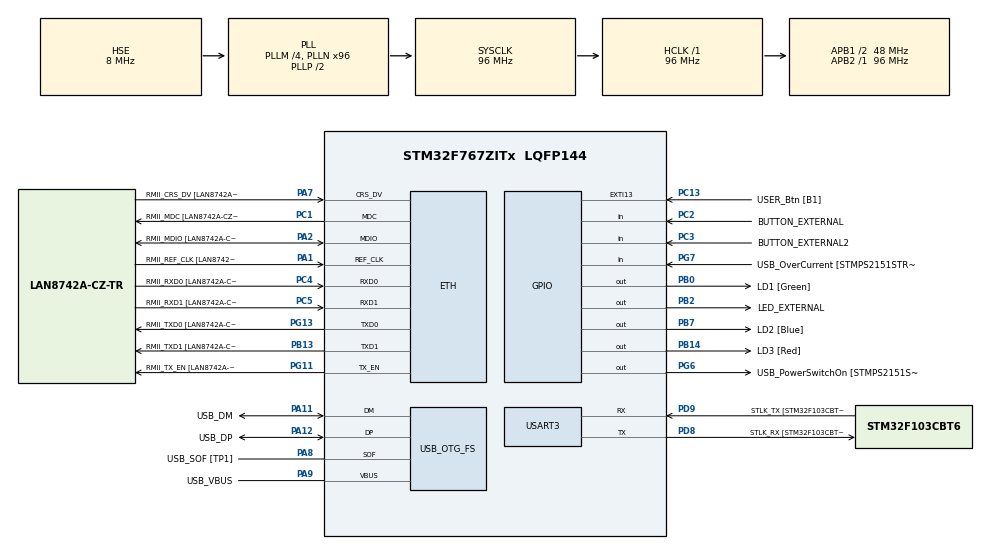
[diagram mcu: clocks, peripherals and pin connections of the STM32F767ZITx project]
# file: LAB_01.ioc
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ETH.MediaInterface=HAL_ETH_RMII_MODE
ETH.PHY_Name=LAN8742A_PHY_ADDRESS
ETH.PHY_Value=0
ETH.PhyAddress=0
Mcu.Family=STM32F7
Mcu.Name=STM32F767ZITx
Mcu.Package=LQFP144
NVIC.PriorityGroup=NVIC_PRIORITYGROUP_4
PA1.GPIO_Label=RMII_REF_CLK [LAN8742A-CZ-TR_REFCLK0]
PA1.Mode=RMII
PA1.Signal=ETH_REF_CLK
PA10.GPIO_Label=USB_ID
PA10.Signal=USB_OTG_FS_ID
PA11.GPIO_Label=USB_DM
PA11.Mode=Device_Only
PA11.Signal=USB_OTG_FS_DM
PA12.GPIO_Label=USB_DP
PA12.Mode=Device_Only
PA12.Signal=USB_OTG_FS_DP
PA13.GPIO_Label=TMS
PA13.Mode=Serial_Wire
PA13.Signal=SYS_JTMS-SWDIO
PA14.GPIO_Label=TCK
PA14.Mode=Serial_Wire
PA14.Signal=SYS_JTCK-SWCLK
PA2.GPIO_Label=RMII_MDIO [LAN8742A-CZ-TR_MDIO]
PA2.Mode=RMII
PA2.Signal=ETH_MDIO
PA7.GPIO_Label=RMII_CRS_DV [LAN8742A-CZ-TR_CRS_DV]
PA7.Mode=RMII
PA7.Signal=ETH_CRS_DV
PA8.GPIO_Label=USB_SOF [TP1]
PA8.Mode=Activate_SOF_FS
PA8.Signal=USB_OTG_FS_SOF
PA9.GPIO_Label=USB_VBUS
PA9.Mode=Activate_VBUS
PA9.Signal=USB_OTG_FS_VBUS
PB0.GPIO_Label=LD1 [Green]
PB0.Signal=GPIO_Output
PB13.GPIO_Label=RMII_TXD1 [LAN8742A-CZ-TR_TXD1]
PB13.Mode=RMII
PB13.Signal=ETH_TXD1
PB14.GPIO_Label=LD3 [Red]
PB14.GPIO_PuPd=GPIO_PULLUP
PB14.Signal=GPIO_Output
PB2.GPIO_Label=LED_EXTERNAL
PB2.Signal=GPIO_Output
PB3.GPIO_Label=SWO
PB3.Signal=SYS_JTDO-SWO
PB7.GPIO_Label=LD2 [Blue]
PB7.Signal=GPIO_Output
PC1.GPIO_Label=RMII_MDC [LAN8742A-CZ-TR_MDC]
PC1.Mode=RMII
PC1.Signal=ETH_MDC
PC13.GPIO_Label=USER_Btn [B1]
PC13.Signal=GPXTI13
PC14/OSC32_IN.Mode=LSE-External-Oscillator
PC14/OSC32_IN.Signal=RCC_OSC32_IN
PC15/OSC32_OUT.Mode=LSE-External-Oscillator
PC15/OSC32_OUT.Signal=RCC_OSC32_OUT
PC2.GPIO_Label=BUTTON_EXTERNAL
PC2.GPIO_PuPd=GPIO_PULLUP
PC2.Signal=GPIO_Input
PC3.GPIO_Label=BUTTON_EXTERNAL2
PC3.GPIO_PuPd=GPIO_PULLDOWN
PC3.Signal=GPIO_Input
PC4.GPIO_Label=RMII_RXD0 [LAN8742A-CZ-TR_RXD0]
PC4.Mode=RMII
PC4.Signal=ETH_RXD0
PC5.GPIO_Label=RMII_RXD1 [LAN8742A-CZ-TR_RXD1]
PC5.Mode=RMII
PC5.Signal=ETH_RXD1
PD8.GPIO_Label=STLK_RX [STM32F103CBT6_PA3]
PD8.Mode=Asynchronous
PD8.Signal=USART3_TX
PD9.GPIO_Label=STLK_TX [STM32F103CBT6_PA2]
PD9.Mode=Asynchronous
PD9.Signal=USART3_RX
PG11.GPIO_Label=RMII_TX_EN [LAN8742A-CZ-TR_TXEN]
PG11.Mode=RMII
PG11.Signal=ETH_TX_EN
PG13.GPIO_Label=RMII_TXD0 [LAN8742A-CZ-TR_TXD0]
PG13.Mode=RMII
PG13.Signal=ETH_TXD0
PG6.GPIO_Label=USB_PowerSwitchOn [STMPS2151STR_EN]
PG6.Signal=GPIO_Output
PG7.GPIO_Label=USB_OverCurrent [STMPS2151STR_FAULT]
PG7.Signal=GPIO_Input
PH0/OSC_IN.GPIO_Label=MCO [STM32F103CBT6_PA8]
PH0/OSC_IN.Mode=HSE-External-Clock-Source
PH0/OSC_IN.Signal=RCC_OSC_IN
PH1/OSC_OUT.Mode=HSE-External-Clock-Source
PH1/OSC_OUT.Signal=RCC_OSC_OUT
ProjectManager.HeapSize=0x200
ProjectManager.StackSize=0x400
ProjectManager.TargetToolchain=STM32CubeIDE
RCC.48MHZClocksFreq_Value=24000000
RCC.AHBFreq_Value=96000000
RCC.APB1CLKDivider=RCC_HCLK_DIV2
RCC.APB1Freq_Value=48000000
RCC.APB1TimFreq_Value=96000000
RCC.APB2Freq_Value=96000000
RCC.APB2TimFreq_Value=96000000
RCC.CortexFreq_Value=96000000
RCC.HCLKFreq_Value=96000000
RCC.HSE_VALUE=8000000
RCC.HSI_VALUE=16000000
RCC.PLLM=4
RCC.PLLMUL=RCC_PLL_MUL9
RCC.PLLN=96
RCC.PLLQ=4
RCC.PRESCALERUSB=RCC_USBCLKSOURCE_PLL_DIV1_5
RCC.SYSCLKFreq_VALUE=96000000
RCC.SYSCLKSource=RCC_SYSCLKSOURCE_PLLCLK
RCC.SYSCLKSourceVirtual=RCC_SYSCLKSOURCE_PLLCLK
RCC.USBFreq_Value=48000000
RCC.VCOOutputFreq_Value=192000000
USART3.VirtualMode-Asynchronous=VM_ASYNC
USB_OTG_FS.VirtualMode=Device_Only
board=NUCLEO-F767ZI

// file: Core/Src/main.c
/* USER CODE BEGIN Header */
/**
 ******************************************************************************
 * @file           : main.c
 * @brief          : Main program body
 ******************************************************************************
 * @attention
 *
 * Copyright (c) 2025 STMicroelectronics.
 * All rights reserved.
 *
 * This software is licensed under terms that can be found in the LICENSE file
 * in the root directory of this software component.
 * If no LICENSE file comes with this software, it is provided AS-IS.
 *
 ******************************************************************************
 */
/* USER CODE END Header */
#include "main.h"
#include "string.h"

/* USER CODE BEGIN Includes */

#include <stdbool.h>

/* USER CODE END Includes */

#if defined ( __ICCARM__ ) /*!< IAR Compiler */
#pragma location=0x2007c000
ETH_DMADescTypeDef  DMARxDscrTab[ETH_RX_DESC_CNT]; /* Ethernet Rx DMA Descriptors */
#pragma location=0x2007c0a0
ETH_DMADescTypeDef  DMATxDscrTab[ETH_TX_DESC_CNT]; /* Ethernet Tx DMA Descriptors */

#elif defined ( __CC_ARM )  /* MDK ARM Compiler */

__attribute__((at(0x2007c000))) ETH_DMADescTypeDef  DMARxDscrTab[ETH_RX_DESC_CNT]; /* Ethernet Rx DMA Descriptors */
__attribute__((at(0x2007c0a0))) ETH_DMADescTypeDef  DMATxDscrTab[ETH_TX_DESC_CNT]; /* Ethernet Tx DMA Descriptors */

#elif defined ( __GNUC__ ) /* GNU Compiler */

ETH_DMADescTypeDef DMARxDscrTab[ETH_RX_DESC_CNT] __attribute__((section(".RxDecripSection"))); /* Ethernet Rx DMA Descriptors */
ETH_DMADescTypeDef DMATxDscrTab[ETH_TX_DESC_CNT] __attribute__((section(".TxDecripSection"))); /* Ethernet Tx DMA Descriptors */
#endif

ETH_TxPacketConfig TxConfig;

ETH_HandleTypeDef heth;

UART_HandleTypeDef huart3;

PCD_HandleTypeDef hpcd_USB_OTG_FS;

void SystemClock_Config(void);
static void MX_GPIO_Init(void);
static void MX_ETH_Init(void);
static void MX_USART3_UART_Init(void);
static void MX_USB_OTG_FS_PCD_Init(void);

/* USER CODE BEGIN 0 */

void zad4() {
	GPIO_PinState pinState = HAL_GPIO_ReadPin(GPIOC,
	BUTTON_EXTERNAL_Pin);

	if (pinState == GPIO_PIN_RESET) {
		HAL_GPIO_WritePin(GPIOB, LED_EXTERNAL_Pin, GPIO_PIN_SET);
		//			HAL_GPIO_WritePin(GPIOB, LD1_Pin, GPIO_PIN_SET);
	} else {
		HAL_GPIO_WritePin(GPIOB, LED_EXTERNAL_Pin, GPIO_PIN_RESET);
		//			HAL_GPIO_WritePin(GPIOB, LD1_Pin, GPIO_PIN_RESET);
	}
}

_Bool buttonState(uint16_t pin) {
	if (pin == BUTTON_EXTERNAL_Pin) {
		GPIO_PinState pinState = HAL_GPIO_ReadPin(GPIOC,
		BUTTON_EXTERNAL_Pin);

		return (pinState == GPIO_PIN_RESET);

	} else if (pin == BUTTON_EXTERNAL2_Pin) {
		GPIO_PinState pinState = HAL_GPIO_ReadPin(GPIOC,
		BUTTON_EXTERNAL_Pin);
		return (pinState == GPIO_PIN_SET);
	}
	return false;
}

void zad5() {
	GPIO_PinState pinStatePullUp = HAL_GPIO_ReadPin(GPIOC,
	BUTTON_EXTERNAL_Pin);
	GPIO_PinState pinStatePullDown = HAL_GPIO_ReadPin(GPIOC,
	BUTTON_EXTERNAL2_Pin);

	if (pinStatePullUp == GPIO_PIN_RESET) {
		HAL_GPIO_WritePin(GPIOB, LED_EXTERNAL_Pin, GPIO_PIN_SET);
	}

	if (pinStatePullDown == GPIO_PIN_SET) {
		HAL_GPIO_WritePin(GPIOB, LED_EXTERNAL_Pin, GPIO_PIN_RESET);
	}
}

//void zad5() {
//	if (buttonState(BUTTON_EXTERNAL_Pin)) {
//		HAL_GPIO_WritePin(GPIOB, LED_EXTERNAL_Pin, GPIO_PIN_SET);
//	}
//
//	if (buttonState(BUTTON_EXTERNAL2_Pin)) {
//		HAL_GPIO_WritePin(GPIOB, LED_EXTERNAL_Pin, GPIO_PIN_RESET);
//	}
//}

/* USER CODE END 0 */

int main(void) {

	/* MCU Configuration--------------------------------------------------------*/

	/* Reset of all peripherals, Initializes the Flash interface and the Systick. */
	HAL_Init();

	/* Configure the system clock */
	SystemClock_Config();

	/* Initialize all configured peripherals */
	MX_GPIO_Init();
	MX_ETH_Init();
	MX_USART3_UART_Init();
	MX_USB_OTG_FS_PCD_Init();

	/* Infinite loop */
	/* USER CODE BEGIN WHILE */
	while (1) {

//		zad4();
		zad5();

		/* USER CODE END WHILE */

	}
}

void SystemClock_Config(void) {
	RCC_OscInitTypeDef RCC_OscInitStruct = { 0 };
	RCC_ClkInitTypeDef RCC_ClkInitStruct = { 0 };

	/** Configure LSE Drive Capability
	 */
	HAL_PWR_EnableBkUpAccess();

	/** Configure the main internal regulator output voltage
	 */
	__HAL_RCC_PWR_CLK_ENABLE();
	__HAL_PWR_VOLTAGESCALING_CONFIG(PWR_REGULATOR_VOLTAGE_SCALE3);

	/** Initializes the RCC Oscillators according to the specified parameters
	 * in the RCC_OscInitTypeDef structure.
	 */
	RCC_OscInitStruct.OscillatorType = RCC_OSCILLATORTYPE_HSE;
	RCC_OscInitStruct.HSEState = RCC_HSE_BYPASS;
	RCC_OscInitStruct.PLL.PLLState = RCC_PLL_ON;
	RCC_OscInitStruct.PLL.PLLSource = RCC_PLLSOURCE_HSE;
	RCC_OscInitStruct.PLL.PLLM = 4;
	RCC_OscInitStruct.PLL.PLLN = 96;
	RCC_OscInitStruct.PLL.PLLP = RCC_PLLP_DIV2;
	RCC_OscInitStruct.PLL.PLLQ = 4;
	RCC_OscInitStruct.PLL.PLLR = 2;
	if (HAL_RCC_OscConfig(&RCC_OscInitStruct) != HAL_OK) {
		Error_Handler();
	}

	/** Activate the Over-Drive mode
	 */
	if (HAL_PWREx_EnableOverDrive() != HAL_OK) {
		Error_Handler();
	}

	/** Initializes the CPU, AHB and APB buses clocks
	 */
	RCC_ClkInitStruct.ClockType = RCC_CLOCKTYPE_HCLK | RCC_CLOCKTYPE_SYSCLK
			| RCC_CLOCKTYPE_PCLK1 | RCC_CLOCKTYPE_PCLK2;
	RCC_ClkInitStruct.SYSCLKSource = RCC_SYSCLKSOURCE_PLLCLK;
	RCC_ClkInitStruct.AHBCLKDivider = RCC_SYSCLK_DIV1;
	RCC_ClkInitStruct.APB1CLKDivider = RCC_HCLK_DIV2;
	RCC_ClkInitStruct.APB2CLKDivider = RCC_HCLK_DIV1;

	if (HAL_RCC_ClockConfig(&RCC_ClkInitStruct, FLASH_LATENCY_3) != HAL_OK) {
		Error_Handler();
	}
}

static void MX_ETH_Init(void) {

	static uint8_t MACAddr[6];

	heth.Instance = ETH;
	MACAddr[0] = 0x00;
	MACAddr[1] = 0x80;
	MACAddr[2] = 0xE1;
	MACAddr[3] = 0x00;
	MACAddr[4] = 0x00;
	MACAddr[5] = 0x00;
	heth.Init.MACAddr = &MACAddr[0];
	heth.Init.MediaInterface = HAL_ETH_RMII_MODE;
	heth.Init.TxDesc = DMATxDscrTab;
	heth.Init.RxDesc = DMARxDscrTab;
	heth.Init.RxBuffLen = 1524;

	if (HAL_ETH_Init(&heth) != HAL_OK) {
		Error_Handler();
	}

	memset(&TxConfig, 0, sizeof(ETH_TxPacketConfig));
	TxConfig.Attributes = ETH_TX_PACKETS_FEATURES_CSUM
			| ETH_TX_PACKETS_FEATURES_CRCPAD;
	TxConfig.ChecksumCtrl = ETH_CHECKSUM_IPHDR_PAYLOAD_INSERT_PHDR_CALC;
	TxConfig.CRCPadCtrl = ETH_CRC_PAD_INSERT;

}

static void MX_USART3_UART_Init(void) {

	huart3.Instance = USART3;
	huart3.Init.BaudRate = 115200;
	huart3.Init.WordLength = UART_WORDLENGTH_8B;
	huart3.Init.StopBits = UART_STOPBITS_1;
	huart3.Init.Parity = UART_PARITY_NONE;
	huart3.Init.Mode = UART_MODE_TX_RX;
	huart3.Init.HwFlowCtl = UART_HWCONTROL_NONE;
	huart3.Init.OverSampling = UART_OVERSAMPLING_16;
	huart3.Init.OneBitSampling = UART_ONE_BIT_SAMPLE_DISABLE;
	huart3.AdvancedInit.AdvFeatureInit = UART_ADVFEATURE_NO_INIT;
	if (HAL_UART_Init(&huart3) != HAL_OK) {
		Error_Handler();
	}

}

static void MX_USB_OTG_FS_PCD_Init(void) {

	hpcd_USB_OTG_FS.Instance = USB_OTG_FS;
	hpcd_USB_OTG_FS.Init.dev_endpoints = 6;
	hpcd_USB_OTG_FS.Init.speed = PCD_SPEED_FULL;
	hpcd_USB_OTG_FS.Init.dma_enable = DISABLE;
	hpcd_USB_OTG_FS.Init.phy_itface = PCD_PHY_EMBEDDED;
	hpcd_USB_OTG_FS.Init.Sof_enable = ENABLE;
	hpcd_USB_OTG_FS.Init.low_power_enable = DISABLE;
	hpcd_USB_OTG_FS.Init.lpm_enable = DISABLE;
	hpcd_USB_OTG_FS.Init.vbus_sensing_enable = ENABLE;
	hpcd_USB_OTG_FS.Init.use_dedicated_ep1 = DISABLE;
	if (HAL_PCD_Init(&hpcd_USB_OTG_FS) != HAL_OK) {
		Error_Handler();
	}

}

static void MX_GPIO_Init(void) {
	GPIO_InitTypeDef GPIO_InitStruct = { 0 };

	/* GPIO Ports Clock Enable */
	__HAL_RCC_GPIOC_CLK_ENABLE();
	__HAL_RCC_GPIOH_CLK_ENABLE();
	__HAL_RCC_GPIOA_CLK_ENABLE();
	__HAL_RCC_GPIOB_CLK_ENABLE();
	__HAL_RCC_GPIOD_CLK_ENABLE();
	__HAL_RCC_GPIOG_CLK_ENABLE();

	/*Configure GPIO pin Output Level */
	HAL_GPIO_WritePin(GPIOB, LD1_Pin | LED_EXTERNAL_Pin | LD3_Pin | LD2_Pin,
			GPIO_PIN_RESET);

	/*Configure GPIO pin Output Level */
	HAL_GPIO_WritePin(USB_PowerSwitchOn_GPIO_Port, USB_PowerSwitchOn_Pin,
			GPIO_PIN_RESET);

	/*Configure GPIO pin : USER_Btn_Pin */
	GPIO_InitStruct.Pin = USER_Btn_Pin;
	GPIO_InitStruct.Mode = GPIO_MODE_IT_RISING;
	GPIO_InitStruct.Pull = GPIO_NOPULL;
	HAL_GPIO_Init(USER_Btn_GPIO_Port, &GPIO_InitStruct);

	/*Configure GPIO pin : BUTTON_EXTERNAL_Pin */
	GPIO_InitStruct.Pin = BUTTON_EXTERNAL_Pin;
	GPIO_InitStruct.Mode = GPIO_MODE_INPUT;
	GPIO_InitStruct.Pull = GPIO_PULLUP;
	HAL_GPIO_Init(BUTTON_EXTERNAL_GPIO_Port, &GPIO_InitStruct);

	/*Configure GPIO pin : BUTTON_EXTERNAL2_Pin */
	GPIO_InitStruct.Pin = BUTTON_EXTERNAL2_Pin;
	GPIO_InitStruct.Mode = GPIO_MODE_INPUT;
	GPIO_InitStruct.Pull = GPIO_PULLDOWN;
	HAL_GPIO_Init(BUTTON_EXTERNAL2_GPIO_Port, &GPIO_InitStruct);

	/*Configure GPIO pins : LD1_Pin LED_EXTERNAL_Pin LD2_Pin */
	GPIO_InitStruct.Pin = LD1_Pin | LED_EXTERNAL_Pin | LD2_Pin;
	GPIO_InitStruct.Mode = GPIO_MODE_OUTPUT_PP;
	GPIO_InitStruct.Pull = GPIO_NOPULL;
	GPIO_InitStruct.Speed = GPIO_SPEED_FREQ_LOW;
	HAL_GPIO_Init(GPIOB, &GPIO_InitStruct);

	/*Configure GPIO pin : LD3_Pin */
	GPIO_InitStruct.Pin = LD3_Pin;
	GPIO_InitStruct.Mode = GPIO_MODE_OUTPUT_PP;
	GPIO_InitStruct.Pull = GPIO_PULLUP;
	GPIO_InitStruct.Speed = GPIO_SPEED_FREQ_LOW;
	HAL_GPIO_Init(LD3_GPIO_Port, &GPIO_InitStruct);

	/*Configure GPIO pin : USB_PowerSwitchOn_Pin */
	GPIO_InitStruct.Pin = USB_PowerSwitchOn_Pin;
	GPIO_InitStruct.Mode = GPIO_MODE_OUTPUT_PP;
	GPIO_InitStruct.Pull = GPIO_NOPULL;
	GPIO_InitStruct.Speed = GPIO_SPEED_FREQ_LOW;
	HAL_GPIO_Init(USB_PowerSwitchOn_GPIO_Port, &GPIO_InitStruct);

	/*Configure GPIO pin : USB_OverCurrent_Pin */
	GPIO_InitStruct.Pin = USB_OverCurrent_Pin;
	GPIO_InitStruct.Mode = GPIO_MODE_INPUT;
	GPIO_InitStruct.Pull = GPIO_NOPULL;
	HAL_GPIO_Init(USB_OverCurrent_GPIO_Port, &GPIO_InitStruct);

}

void Error_Handler(void) {
	__disable_irq();
	while (1) {
	}
}
